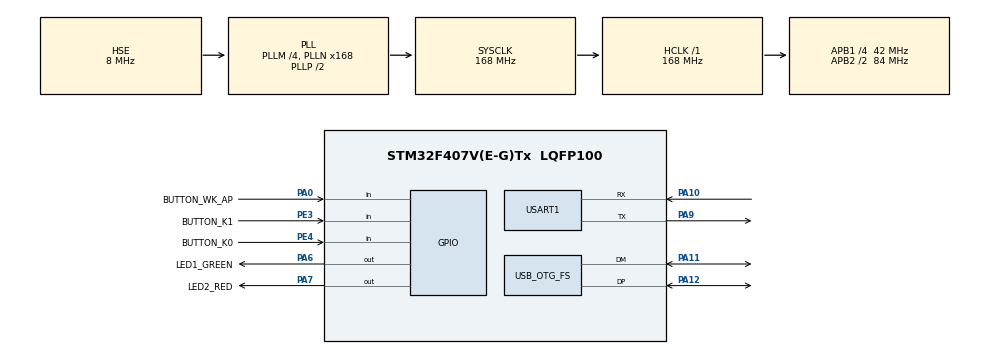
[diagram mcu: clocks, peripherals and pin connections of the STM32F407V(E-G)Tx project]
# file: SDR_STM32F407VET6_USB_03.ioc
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Mcu.Family=STM32F4
Mcu.Name=STM32F407V(E-G)Tx
Mcu.Package=LQFP100
NVIC.OTG_FS_IRQn=true\:0\:0\:false\:false\:true\:false\:true\:true
NVIC.PriorityGroup=NVIC_PRIORITYGROUP_4
PA0-WKUP.GPIO_Label=BUTTON_WK_AP
PA0-WKUP.Signal=GPIO_Input
PA10.Mode=Asynchronous
PA10.Signal=USART1_RX
PA11.Mode=Host_Only
PA11.Signal=USB_OTG_FS_DM
PA12.Mode=Host_Only
PA12.Signal=USB_OTG_FS_DP
PA6.GPIO_Label=LED1_GREEN
PA6.Signal=GPIO_Output
PA7.GPIO_Label=LED2_RED
PA7.Signal=GPIO_Output
PA9.Mode=Asynchronous
PA9.Signal=USART1_TX
PE3.GPIO_Label=BUTTON_K1
PE3.Signal=GPIO_Input
PE4.GPIO_Label=BUTTON_K0
PE4.Signal=GPIO_Input
PH0-OSC_IN.Mode=HSE-External-Oscillator
PH0-OSC_IN.Signal=RCC_OSC_IN
PH1-OSC_OUT.Mode=HSE-External-Oscillator
PH1-OSC_OUT.Signal=RCC_OSC_OUT
ProjectManager.HeapSize=0x400
ProjectManager.StackSize=0x400
ProjectManager.TargetToolchain=MDK-ARM V5.32
RCC.48MHZClocksFreq_Value=48000000
RCC.AHBFreq_Value=168000000
RCC.APB1CLKDivider=RCC_HCLK_DIV4
RCC.APB1Freq_Value=42000000
RCC.APB1TimFreq_Value=84000000
RCC.APB2CLKDivider=RCC_HCLK_DIV2
RCC.APB2Freq_Value=84000000
RCC.APB2TimFreq_Value=168000000
RCC.CortexFreq_Value=168000000
RCC.HCLKFreq_Value=168000000
RCC.HSE_VALUE=8000000
RCC.HSI_VALUE=16000000
RCC.LSE_VALUE=32768
RCC.PLLM=4
RCC.PLLN=168
RCC.PLLQ=7
RCC.SYSCLKFreq_VALUE=168000000
RCC.SYSCLKSource=RCC_SYSCLKSOURCE_PLLCLK
RCC.VCOOutputFreq_Value=336000000
USART1.VirtualMode=VM_ASYNC
USB_HOST.USBH_DEBUG_LEVEL-HID_FS=2
USB_HOST.USBH_HandleTypeDef-HID_FS=hUsbHostFS
USB_HOST.VirtualModeFS=Hid
USB_OTG_FS.VirtualMode=Host_Only
USB_OTG_FS.phy_itface=HCD_PHY_EMBEDDED
VP_USB_HOST_VS_USB_HOST_HID_FS.Mode=HID_FS
board=custom

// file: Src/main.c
/* USER CODE BEGIN Header */
/**
  ******************************************************************************
  * @file           : main.c
  * @brief          : Main program body
  ******************************************************************************
  * @attention
  *
  * Copyright (c) 2023 STMicroelectronics.
  * All rights reserved.
  *
  * This software is licensed under terms that can be found in the LICENSE file
  * in the root directory of this software component.
  * If no LICENSE file comes with this software, it is provided AS-IS.
  *
  ******************************************************************************
  */
/* USER CODE END Header */
#include "main.h"
#include "usb_host.h"

/* USER CODE BEGIN Includes */

#include "stdint.h"
#include "string.h"
#include <stdlib.h>
#include <stdio.h>
//#include "usbh_def.h"

//#include "usbh_core.h"

//USBH_HandleTypeDef hUsbHostFS;  //hUSBHost

//static void USBH_UserProcess(USBH_HandleTypeDef *phost, uint8_t id);
//static void RTLSDR_InitApplication(void);

/* USER CODE END Includes */

/* USER CODE BEGIN PTD */

GPIO_TypeDef* GPIO_PORT[LEDn] = {LED1_GREEN_GPIO_Port,
                                 LED2_RED_GPIO_Port};

const uint16_t GPIO_PIN[LEDn] = {LED1_GREEN_Pin,
	                               LED2_RED_Pin};

void BSP_LED_On(Led_TypeDef Led)
{
  HAL_GPIO_WritePin(GPIO_PORT[Led], GPIO_PIN[Led], GPIO_PIN_RESET);
}

void BSP_LED_Off(Led_TypeDef Led)
{
  HAL_GPIO_WritePin(GPIO_PORT[Led], GPIO_PIN[Led], GPIO_PIN_SET);
}

void BSP_LED_Toggle(Led_TypeDef Led)
{
  HAL_GPIO_TogglePin(GPIO_PORT[Led], GPIO_PIN[Led]);
}

GPIO_TypeDef* BUTTON_PORT[BUTTONn] = {BUTTON_WK_AP_GPIO_Port,
                                      BUTTON_K0_GPIO_Port,
                                      BUTTON_K1_GPIO_Port};

const uint16_t BUTTON_PIN[BUTTONn] = {BUTTON_WK_AP_Pin,
                                      BUTTON_K0_Pin,
                                      BUTTON_K1_Pin};

const uint16_t BUTTON_IRQn[BUTTONn] = {BUTTON_WK_AP_EXTI_IRQn,
                                       BUTTON_K0_EXTI_IRQn,
                                       BUTTON_K1_EXTI_IRQn};

uint32_t BSP_PB_GetState(Button_TypeDef Button)
{
  return HAL_GPIO_ReadPin(BUTTON_PORT[Button], BUTTON_PIN[Button]);
}

/* USER CODE END PTD */

UART_HandleTypeDef huart1;

/* USER CODE BEGIN PV */

	#ifdef __GNUC__
  /* With GCC, small printf (option LD Linker->Libraries->Small printf
     set to 'Yes') calls __io_putchar() */
  #define PUTCHAR_PROTOTYPE int __io_putchar(int ch)
#else
  #define PUTCHAR_PROTOTYPE int fputc(int ch, FILE *f)
#endif /* __GNUC__ */

/* USER CODE END PV */

void SystemClock_Config(void);
static void MX_GPIO_Init(void);
static void MX_USART1_UART_Init(void);
void MX_USB_HOST_Process(void);

int main(void)
{

  /* MCU Configuration--------------------------------------------------------*/

  /* Reset of all peripherals, Initializes the Flash interface and the Systick. */
  HAL_Init();

  /* Configure the system clock */
  SystemClock_Config();

  /* Initialize all configured peripherals */
  MX_GPIO_Init();
  MX_USART1_UART_Init();
  MX_USB_HOST_Init();
  /* USER CODE BEGIN 2 */
	BSP_LED_Off(LED1);
	BSP_LED_Off(LED2);
	HAL_Delay(200);
	BSP_LED_On(LED1);
	BSP_LED_On(LED2);
	HAL_Delay(200);
	BSP_LED_Off(LED1);
	BSP_LED_Off(LED2);
	printf("Start system\r\n");

//	uint8_t start_text[]="Hello from start\n\r";
//	HAL_UART_Transmit(&huart1,start_text,20,0xFFFF);
  /* USER CODE END 2 */

  /* Infinite loop */
  while (1)
  {
    MX_USB_HOST_Process();

  }
}

void SystemClock_Config(void)
{
  RCC_OscInitTypeDef RCC_OscInitStruct = {0};
  RCC_ClkInitTypeDef RCC_ClkInitStruct = {0};

  /** Configure the main internal regulator output voltage
  */
  __HAL_RCC_PWR_CLK_ENABLE();
  __HAL_PWR_VOLTAGESCALING_CONFIG(PWR_REGULATOR_VOLTAGE_SCALE1);

  /** Initializes the RCC Oscillators according to the specified parameters
  * in the RCC_OscInitTypeDef structure.
  */
  RCC_OscInitStruct.OscillatorType = RCC_OSCILLATORTYPE_HSE;
  RCC_OscInitStruct.HSEState = RCC_HSE_ON;
  RCC_OscInitStruct.PLL.PLLState = RCC_PLL_ON;
  RCC_OscInitStruct.PLL.PLLSource = RCC_PLLSOURCE_HSE;
  RCC_OscInitStruct.PLL.PLLM = 4;
  RCC_OscInitStruct.PLL.PLLN = 168;
  RCC_OscInitStruct.PLL.PLLP = RCC_PLLP_DIV2;
  RCC_OscInitStruct.PLL.PLLQ = 7;
  if (HAL_RCC_OscConfig(&RCC_OscInitStruct) != HAL_OK)
  {
    Error_Handler();
  }

  /** Initializes the CPU, AHB and APB buses clocks
  */
  RCC_ClkInitStruct.ClockType = RCC_CLOCKTYPE_HCLK|RCC_CLOCKTYPE_SYSCLK
                              |RCC_CLOCKTYPE_PCLK1|RCC_CLOCKTYPE_PCLK2;
  RCC_ClkInitStruct.SYSCLKSource = RCC_SYSCLKSOURCE_PLLCLK;
  RCC_ClkInitStruct.AHBCLKDivider = RCC_SYSCLK_DIV1;
  RCC_ClkInitStruct.APB1CLKDivider = RCC_HCLK_DIV4;
  RCC_ClkInitStruct.APB2CLKDivider = RCC_HCLK_DIV2;

  if (HAL_RCC_ClockConfig(&RCC_ClkInitStruct, FLASH_LATENCY_5) != HAL_OK)
  {
    Error_Handler();
  }
}

static void MX_USART1_UART_Init(void)
{

  huart1.Instance = USART1;
  huart1.Init.BaudRate = 115200;
  huart1.Init.WordLength = UART_WORDLENGTH_8B;
  huart1.Init.StopBits = UART_STOPBITS_1;
  huart1.Init.Parity = UART_PARITY_NONE;
  huart1.Init.Mode = UART_MODE_TX_RX;
  huart1.Init.HwFlowCtl = UART_HWCONTROL_NONE;
  huart1.Init.OverSampling = UART_OVERSAMPLING_16;
  if (HAL_UART_Init(&huart1) != HAL_OK)
  {
    Error_Handler();
  }

}

static void MX_GPIO_Init(void)
{
  GPIO_InitTypeDef GPIO_InitStruct = {0};

  /* GPIO Ports Clock Enable */
  __HAL_RCC_GPIOE_CLK_ENABLE();
  __HAL_RCC_GPIOH_CLK_ENABLE();
  __HAL_RCC_GPIOA_CLK_ENABLE();

  /*Configure GPIO pin Output Level */
  HAL_GPIO_WritePin(GPIOA, LED1_GREEN_Pin|LED2_RED_Pin, GPIO_PIN_RESET);

  /*Configure GPIO pins : BUTTON_K1_Pin BUTTON_K0_Pin */
  GPIO_InitStruct.Pin = BUTTON_K1_Pin|BUTTON_K0_Pin;
  GPIO_InitStruct.Mode = GPIO_MODE_INPUT;
  GPIO_InitStruct.Pull = GPIO_NOPULL;
  HAL_GPIO_Init(GPIOE, &GPIO_InitStruct);

  /*Configure GPIO pin : BUTTON_WK_AP_Pin */
  GPIO_InitStruct.Pin = BUTTON_WK_AP_Pin;
  GPIO_InitStruct.Mode = GPIO_MODE_INPUT;
  GPIO_InitStruct.Pull = GPIO_NOPULL;
  HAL_GPIO_Init(BUTTON_WK_AP_GPIO_Port, &GPIO_InitStruct);

  /*Configure GPIO pins : LED1_GREEN_Pin LED2_RED_Pin */
  GPIO_InitStruct.Pin = LED1_GREEN_Pin|LED2_RED_Pin;
  GPIO_InitStruct.Mode = GPIO_MODE_OUTPUT_PP;
  GPIO_InitStruct.Pull = GPIO_NOPULL;
  GPIO_InitStruct.Speed = GPIO_SPEED_FREQ_LOW;
  HAL_GPIO_Init(GPIOA, &GPIO_InitStruct);

}

/* USER CODE BEGIN 4 */

PUTCHAR_PROTOTYPE
{
  /* Place your implementation of fputc here */
  /* e.g. write a character to the EVAL_COM1 and Loop until the end of transmission */
  HAL_UART_Transmit(&huart1, (uint8_t *)&ch, 1, 0xFFFF);

  return ch;
}

/* USER CODE END 4 */

void Error_Handler(void)
{
  /* USER CODE BEGIN Error_Handler_Debug */
  /* User can add his own implementation to report the HAL error return state */

	BSP_LED_Toggle(LED2);
	HAL_Delay(100);
	BSP_LED_Toggle(LED2);
	HAL_Delay(100);
	BSP_LED_Toggle(LED2);
	HAL_Delay(100);
	BSP_LED_Toggle(LED2);

  __disable_irq();
  while (1)
  {
  }
  /* USER CODE END Error_Handler_Debug */
}
